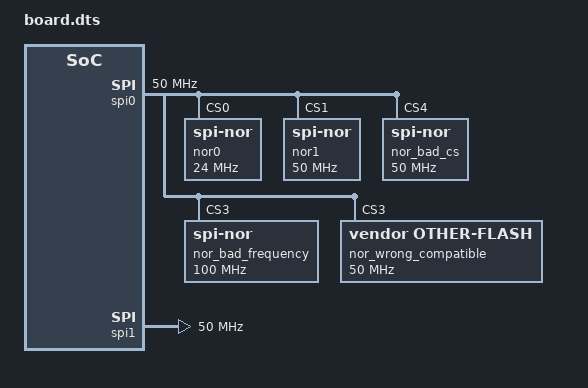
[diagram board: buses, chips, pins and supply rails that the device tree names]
/dts-v1/;

#include <dt-bindings/gpio/sunxi-gpio.h>

/ {
	#address-cells = <1>;
	#size-cells = <1>;

	aliases {
		spi0 = &spi0;
		spi1 = &spi1;
		nor0 = &nor0;
		nor1 = &nor1;
		nor-disabled = &nor_disabled;
		nor-bad-cs = &nor_bad_cs;
		nor-bad-frequency = &nor_bad_frequency;
		nor-wrong-compatible = &nor_wrong_compatible;
	};

	pio: pinctrl@2000000 {
		compatible = "allwinner,sunxi-pinctrl";
		reg = <0x02000000 0x1000>;
		allwinner,bank-base = <SUNXI_GPIO_PORT_A>;
		allwinner,bank-count = <11>;
		#gpio-cells = <3>;
		gpio-controller;

		spi0_pins: spi0-pins {
			allwinner,pins =
				<SUNXI_GPIO_PORT_C 1 4>,
				<SUNXI_GPIO_PORT_C 0 4>,
				<SUNXI_GPIO_PORT_C 2 4>,
				<SUNXI_GPIO_PORT_C 3 4>;
		};

		spi1_pins: spi1-pins {
			allwinner,pins =
				<SUNXI_GPIO_PORT_D 1 5>,
				<SUNXI_GPIO_PORT_D 0 5>,
				<SUNXI_GPIO_PORT_D 2 5>,
				<SUNXI_GPIO_PORT_D 3 5>;
		};
	};

	spi0: spi@1000 {
		compatible = "allwinner,sunxi-spi";
		#address-cells = <1>;
		#size-cells = <0>;
		allwinner,spi-id = <0>;
		reg = <0x1000 0x1000>;
		clock-frequency = <50000000>;
		allwinner,module-clock = <0x3000 1 8 300000000 0>;
		allwinner,clock-gate = <0x3100 6>;
		allwinner,reset = <0x3200 22>;
		pinctrl-names = "default";
		pinctrl-0 = <&spi0_pins>;
		status = "okay";

		nor0: flash@0 {
			compatible = "jedec,spi-nor";
			reg = <0>;
			spi-max-frequency = <24000000>;
		};

		nor1: flash@1 {
			compatible = "jedec,spi-nor";
			reg = <1>;
			spi-max-frequency = <50000000>;
		};

		nor_disabled: flash@2 {
			compatible = "jedec,spi-nor";
			reg = <2>;
			spi-max-frequency = <50000000>;
			status = "disabled";
		};

		nor_bad_cs: flash@4 {
			compatible = "jedec,spi-nor";
			reg = <4>;
			spi-max-frequency = <50000000>;
		};

		nor_bad_frequency: flash@3 {
			compatible = "jedec,spi-nor";
			reg = <3>;
			spi-max-frequency = <100000001>;
		};

		nor_wrong_compatible: other@3 {
			compatible = "vendor,other-flash";
			reg = <3>;
			spi-max-frequency = <50000000>;
		};
	};

	spi1: spi@2000 {
		compatible = "allwinner,sunxi-spi";
		#address-cells = <1>;
		#size-cells = <0>;
		allwinner,spi-id = <1>;
		reg = <0x2000 0x1000>;
		clock-frequency = <50000000>;
		allwinner,module-clock = <0x4000 1 8 300000000 0>;
		allwinner,clock-gate = <0x4100 7>;
		allwinner,reset = <0x4200 23>;
		pinctrl-names = "default";
		pinctrl-0 = <&spi1_pins>;
		status = "okay";
	};
};
